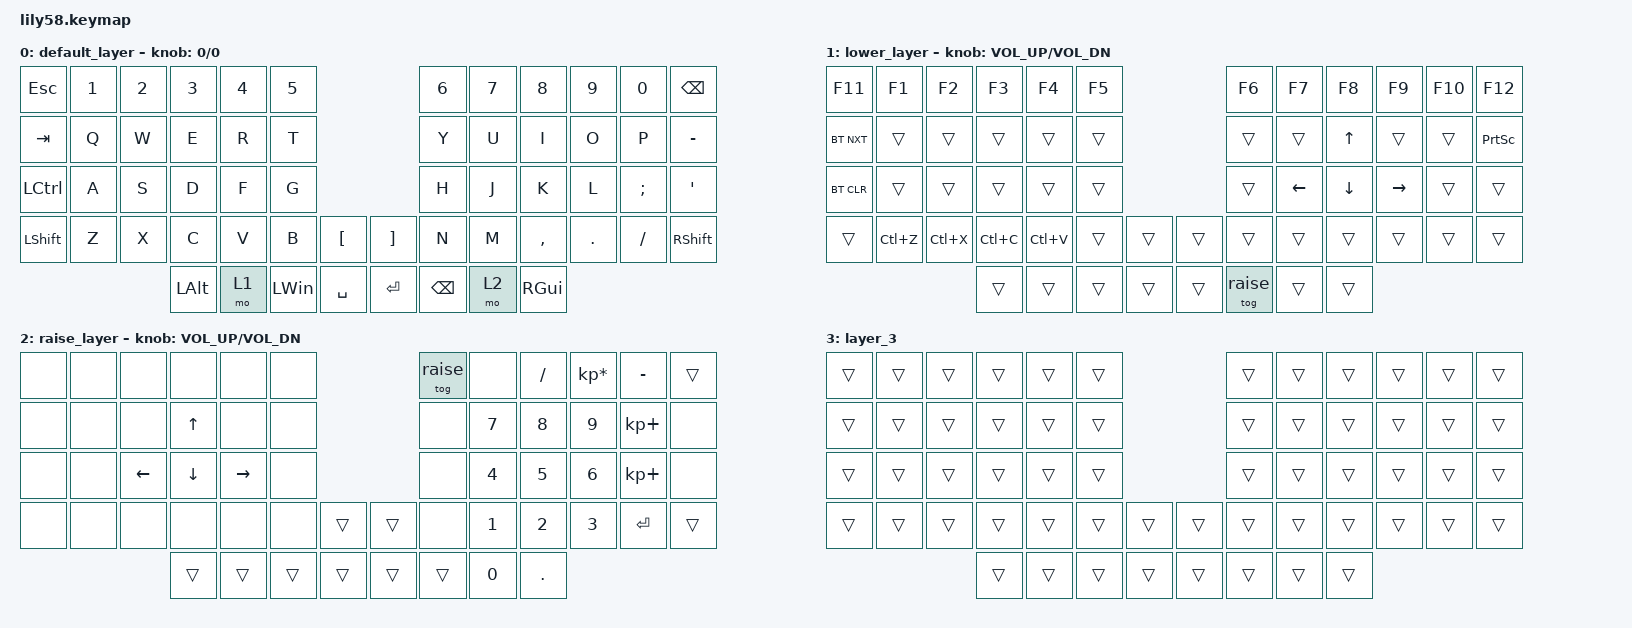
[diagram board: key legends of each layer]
/*
 * Copyright (c) 2020 The ZMK Contributors
 *
 * SPDX-License-Identifier: MIT
 */

#include <behaviors.dtsi>
#include <dt-bindings/zmk/bt.h>
#include <dt-bindings/zmk/keys.h>

#define default 0
#define lower 1
#define raise 2

/ {
    keymap {
        compatible = "zmk,keymap";

        default_layer {
            // ------------------------------------------------------------------------------------------------------------
            // |  ESC  |  1  |  2  |  3   |  4   |  5   |                   |  6   |  7    |  8    |  9   |   0   | BSPC  |
            // |  TAB  |  Q  |  W  |  E   |  R   |  T   |                   |  Y   |  U    |  I    |  O   |   P   |   -   |
            // |  CTRL |  A  |  S  |  D   |  F   |  G   |                   |  H   |  J    |  K    |  L   |   ;   |   '   |
            // | SHIFT |  Z  |  X  |  C   |  V   |  B   |   "["  |  |  "]"  |  N   |  M    |  ,    |  .   |   /   | ENTER |
            //                     | ALT  | GUI  | LOWER|  SPACE |  | SPACE | RAISE|  DEL  | GUI   |

            bindings = <
&kp ESC    &kp N1  &kp N2  &kp N3    &kp N4  &kp N5                                &kp N6         &kp N7  &kp N8     &kp N9   &kp N0    &kp BSPC
&kp TAB    &kp Q   &kp W   &kp E     &kp R   &kp T                                 &kp Y          &kp U   &kp I      &kp O    &kp P     &kp MINUS
&kp LCTRL  &kp A   &kp S   &kp D     &kp F   &kp G                                 &kp H          &kp J   &kp K      &kp L    &kp SEMI  &kp SQT
&kp LSHFT  &kp Z   &kp X   &kp C     &kp V   &kp B         &kp LBKT     &kp RBKT   &kp N          &kp M   &kp COMMA  &kp DOT  &kp FSLH  &kp RIGHT_SHIFT
                           &kp LALT  &mo 1   &kp LEFT_WIN  &kp SPACE    &kp ENTER  &kp BACKSPACE  &mo 2   &kp RGUI
            >;

            sensor-bindings = <&inc_dec_kp 0 0>;
        };

        lower_layer {
            // ------------------------------------------------------------------------------------------------------------
            // |  F11  |  F1 |  F2 |  F3  |  F4  |  F5  |                   |  F6  |  F7   |  F8   |  F9  |  F10  |  F12  |
            // | BT_NXT|     |     |      |      |      |                   |      |       |  UP   |      |       | PSCRN |
            // | BT_CLR|     |     |      |      |      |                   |      | LEFT  |  DOWN | RIGHT|       |       |
            // |       | UNDO| CUT | COPY | PASTE|      |        |  |       |      |       |       |      |       |       |
            //                     |      |      |      |        |  |       | TOG2 |       |       |

            bindings = <
&kp F11     &kp F1     &kp F2     &kp F3     &kp F4     &kp F5                    &kp F6      &kp F7    &kp F8    &kp F9     &kp F10  &kp F12
&bt BT_NXT  &trans     &trans     &trans     &trans     &trans                    &trans      &trans    &kp UP    &trans     &trans   &kp PSCRN
&bt BT_CLR  &trans     &trans     &trans     &trans     &trans                    &trans      &kp LEFT  &kp DOWN  &kp RIGHT  &trans   &trans
&trans      &kp LC(Z)  &kp LC(X)  &kp LC(C)  &kp LC(V)  &trans  &trans    &trans  &trans      &trans    &trans    &trans     &trans   &trans
                                  &trans     &trans     &trans  &trans    &trans  &tog raise  &trans    &trans
            >;

            sensor-bindings = <&inc_dec_kp C_VOL_UP C_VOL_DN>;
        };

        raise_layer {
            // ------------------------------------------------------------------------------------------------------------
            // |       |     |     |      |      |      |                   | TOG2 |       |   /   |  *   |   -   |       |
            // |       |     |     |  UP  |      |      |                   |      |   7   |   8   |  9   |   +   |       |
            // |       |     | LEFT|  DN  | RIGHT|      |                   |      |   4   |   5   |  6   |   +   |       |
            // |       |     |     |      |      |      |        |  |       |      |   1   |   2   |  3   | ENTER |       |
            //                     |      |      |      |        |  |       |      |   0   |   .   |

            bindings = <
&none  &none  &none     &none     &none      &none                     &tog raise  &none   &kp FSLH  &kp KP_MULTIPLY  &kp MINUS    &trans
&none  &none  &none     &kp UP    &none      &none                     &none       &kp N7  &kp N8    &kp N9           &kp KP_PLUS  &none
&none  &none  &kp LEFT  &kp DOWN  &kp RIGHT  &none                     &none       &kp N4  &kp N5    &kp N6           &kp KP_PLUS  &none
&none  &none  &none     &none     &none      &none   &trans    &trans  &none       &kp N1  &kp N2    &kp N3           &kp RET      &trans
                        &trans    &trans     &trans  &trans    &trans  &trans      &kp N0  &kp DOT
            >;

            sensor-bindings = <&inc_dec_kp C_VOL_UP C_VOL_DN>;
        };

        layer_3 {
            bindings = <
&trans  &trans  &trans  &trans  &trans  &trans                    &trans  &trans  &trans  &trans  &trans  &trans
&trans  &trans  &trans  &trans  &trans  &trans                    &trans  &trans  &trans  &trans  &trans  &trans
&trans  &trans  &trans  &trans  &trans  &trans                    &trans  &trans  &trans  &trans  &trans  &trans
&trans  &trans  &trans  &trans  &trans  &trans  &trans    &trans  &trans  &trans  &trans  &trans  &trans  &trans
                        &trans  &trans  &trans  &trans    &trans  &trans  &trans  &trans
            >;
        };
    };
};
